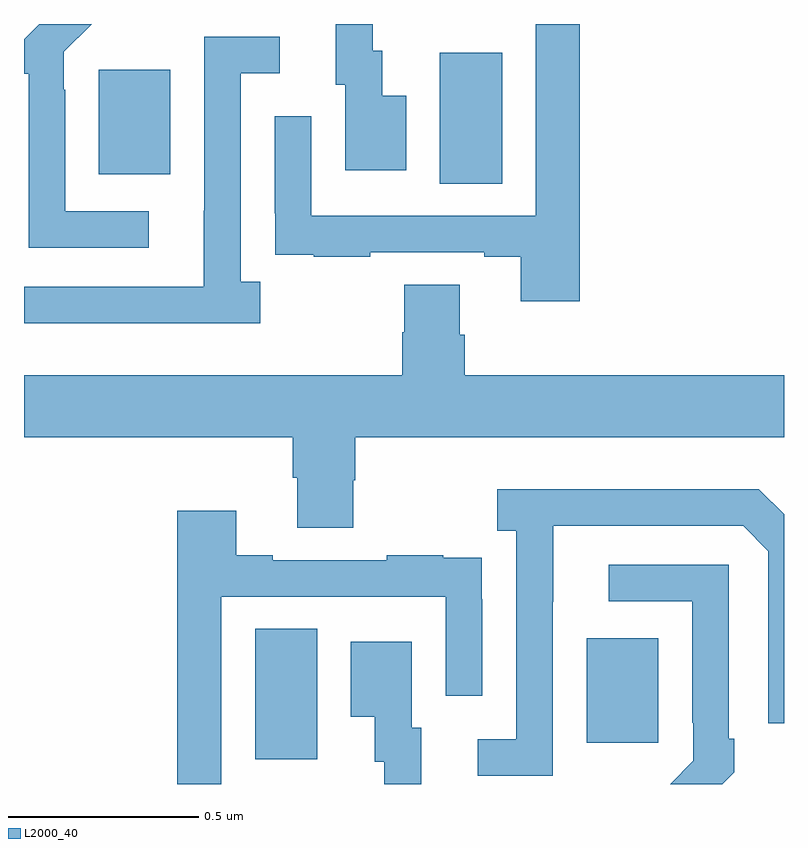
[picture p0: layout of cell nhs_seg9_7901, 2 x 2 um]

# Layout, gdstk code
import gdstk
lib = gdstk.Library(unit=1e-6, precision=1e-09)
def R(c, l, rs):  # rectangles x0, y0, x1, y1
    for r in rs: c.add(gdstk.rectangle(r[:2], r[2:], *l))
def P(c, l, *ps):  # polygons
    for p in ps: c.add(gdstk.Polygon(p, *l))
L2000_40 = (2000, 40)

nhs_seg9_7901 = lib.new_cell('nhs_seg9_7901')
R(nhs_seg9_7901, L2000_40, [(210.608,1203.565,210.772,1203.908), (211.481,1203.609,211.669,1203.883), (211.094,1205.08,211.258,1205.424), (210.197,1205.105,210.385,1205.38)])
P(nhs_seg9_7901, L2000_40, [(211.463,1205.5),(211.347,1205.5),(211.347,1204.995),(210.756,1204.995),(210.756,1205.257),(210.66,1205.257),(210.66,1205.002),(210.661,1205.002),(210.661,1204.893),(210.763,1204.893),(210.763,1204.887),(210.911,1204.887),(210.911,1204.899),(211.211,1204.899),(211.211,1204.887),(211.307,1204.887),(211.307,1204.77),(211.463,1204.77)],
  [(211.006,1205.311),(210.943,1205.311),(210.943,1205.43),(210.918,1205.43),(210.918,1205.5),(210.821,1205.5),(210.821,1205.34),(210.845,1205.34),(210.845,1205.115),(211.006,1205.115)],
  [(210.328,1205.007),(210.108,1205.007),(210.108,1205.327),(210.105,1205.327),(210.105,1205.427),(210.178,1205.5),(210.04,1205.5),(210,1205.46),(210,1205.369),(210.012,1205.369),(210.012,1204.911),(210.328,1204.911)],
  [(210.622,1204.822),(210.57,1204.822),(210.57,1205.37),(210.673,1205.37),(210.673,1205.466),(210.474,1205.466),(210.474,1205.009),(210.473,1205.009),(210.473,1204.809),(210,1204.809),(210,1204.712),(210.622,1204.712)],
  [(210.867,1204.299),(210.872,1204.299),(210.872,1204.412),(212,1204.412),(212,1204.576),(211.16,1204.576),(211.16,1204.682),(211.147,1204.682),(211.147,1204.814),(211,1204.814),(211,1204.689),(210.995,1204.689),(210.995,1204.576),(210,1204.576),(210,1204.412),(210.707,1204.412),(210.707,1204.306),(210.719,1204.306),(210.719,1204.174),(210.867,1204.174)],
  [(211.392,1203.979),(211.393,1203.979),(211.393,1204.179),(211.893,1204.179),(211.959,1204.113),(211.959,1203.66),(212,1203.66),(212,1204.21),(211.934,1204.276),(211.245,1204.276),(211.245,1204.166),(211.296,1204.166),(211.296,1203.618),(211.194,1203.618),(211.194,1203.522),(211.392,1203.522)],
  [(210.519,1203.993),(211.11,1203.993),(211.11,1203.732),(211.206,1203.732),(211.206,1203.986),(211.205,1203.986),(211.205,1204.095),(211.103,1204.095),(211.103,1204.102),(210.955,1204.102),(210.955,1204.089),(210.655,1204.089),(210.655,1204.102),(210.559,1204.102),(210.559,1204.219),(210.403,1204.219),(210.403,1203.5),(210.519,1203.5)],
  [(211.869,1203.531),(211.869,1203.619),(211.854,1203.619),(211.854,1204.077),(211.539,1204.077),(211.539,1203.981),(211.758,1203.981),(211.758,1203.661),(211.761,1203.661),(211.761,1203.561),(211.7,1203.5),(211.838,1203.5)],
  [(211.045,1203.648),(211.021,1203.648),(211.021,1203.874),(210.86,1203.874),(210.86,1203.677),(210.923,1203.677),(210.923,1203.558),(210.948,1203.558),(210.948,1203.5),(211.045,1203.5)])

lib.write_gds('nhs_seg9_7901.gds')
